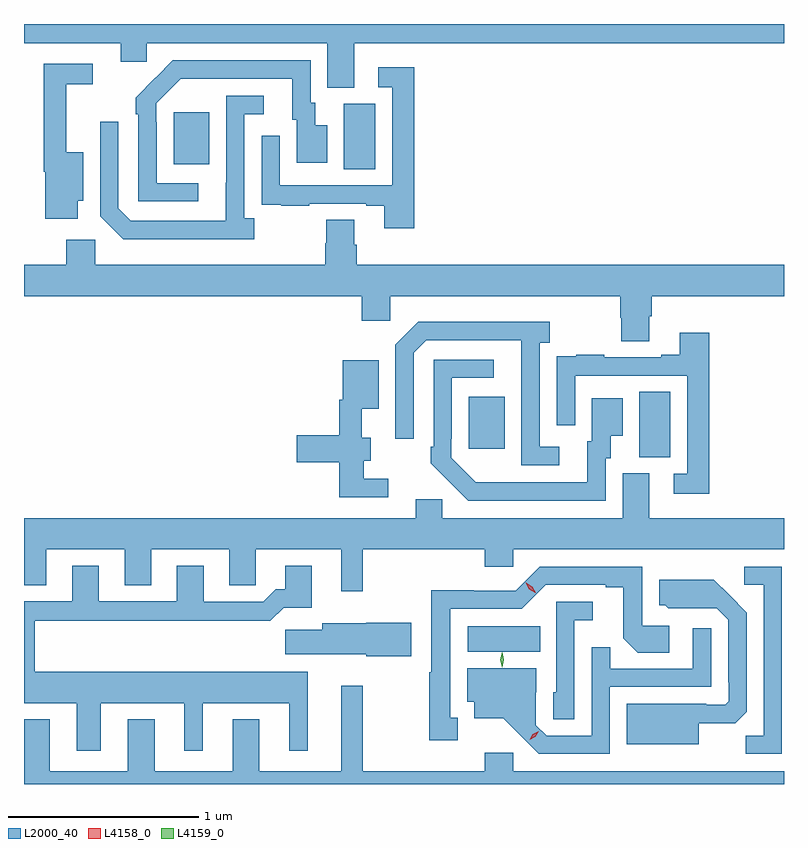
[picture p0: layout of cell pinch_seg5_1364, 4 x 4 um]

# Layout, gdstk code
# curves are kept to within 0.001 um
import gdstk
lib = gdstk.Library(unit=1e-6, precision=1e-09)
def R(c, l, rs):  # rectangles x0, y0, x1, y1
    for r in rs: c.add(gdstk.rectangle(r[:2], r[2:], *l))
def P(c, l, *ps):  # polygons
    for p in ps: c.add(gdstk.Polygon(p, *l))
L2000_40 = (2000, 40)
L4158_0 = (4158, 0)
L4159_0 = (4159, 0)

pinch_seg5_1364 = lib.new_cell('pinch_seg5_1364')
R(pinch_seg5_1364, L2000_40, [(144.258,904.172,144.638,904.306), (145.16,905.197,145.324,905.54), (144.263,905.241,144.451,905.515), (143.606,906.712,143.77,907.056), (142.709,906.737,142.897,907.012)])
P(pinch_seg5_1364, L2000_40, [(143.659,907.376),(145.922,907.376),(145.922,907.476),(141.922,907.476),(141.922,907.376),(142.43,907.376),(142.43,907.278),(142.569,907.278),(142.569,907.376),(143.519,907.376),(143.519,907.141),(143.659,907.141)],
  [(142.84,906.639),(142.62,906.639),(142.62,906.959),(142.617,906.959),(142.617,907.059),(142.746,907.188),(143.333,907.188),(143.333,906.972),(143.357,906.972),(143.357,906.747),(143.518,906.747),(143.518,906.943),(143.455,906.943),(143.455,907.062),(143.43,907.062),(143.43,907.284),(142.706,907.284),(142.509,907.089),(142.509,907.001),(142.524,907.001),(142.524,906.543),(142.84,906.543)],
  [(142.204,906.545),(142.234,906.545),(142.234,906.802),(142.145,906.802),(142.145,907.158),(142.285,907.158),(142.285,907.266),(142.027,907.266),(142.027,906.698),(142.034,906.698),(142.034,906.45),(142.204,906.45)],
  [(143.975,907.249),(143.787,907.249),(143.787,907.143),(143.859,907.143),(143.859,906.627),(143.268,906.627),(143.268,906.889),(143.172,906.889),(143.172,906.634),(143.173,906.634),(143.173,906.525),(143.275,906.525),(143.275,906.519),(143.423,906.519),(143.423,906.531),(143.723,906.531),(143.723,906.519),(143.819,906.519),(143.819,906.402),(143.975,906.402)],
  [(143.134,906.454),(143.082,906.454),(143.082,907.002),(143.185,907.002),(143.185,907.098),(142.986,907.098),(142.985,906.441),(142.485,906.441),(142.419,906.507),(142.419,906.961),(142.323,906.961),(142.323,906.465),(142.444,906.344),(143.134,906.344)],
  [(145.213,905.938),(145.226,905.938),(145.226,906.044),(145.922,906.044),(145.922,906.208),(143.672,906.208),(143.672,906.314),(143.659,906.314),(143.659,906.446),(143.512,906.446),(143.512,906.321),(143.507,906.321),(143.507,906.208),(142.296,906.208),(142.296,906.34),(142.145,906.34),(142.145,906.208),(141.922,906.208),(141.922,906.044),(143.699,906.044),(143.699,905.913),(143.85,905.913),(143.85,906.044),(145.061,906.044),(145.061,905.931),(145.066,905.931),(145.066,905.806),(145.213,905.806)],
  [(144.739,905.25),(144.636,905.25),(144.636,905.798),(144.688,905.798),(144.688,905.908),(143.998,905.908),(143.877,905.787),(143.877,905.292),(143.973,905.292),(143.973,905.745),(144.039,905.811),(144.539,905.811),(144.54,905.154),(144.739,905.154)],
  [(145.529,905.851),(145.373,905.851),(145.373,905.734),(145.277,905.734),(145.277,905.721),(144.977,905.721),(144.977,905.734),(144.829,905.734),(144.829,905.727),(144.727,905.727),(144.727,905.618),(144.726,905.618),(144.726,905.364),(144.822,905.364),(144.822,905.625),(145.413,905.625),(145.413,905.109),(145.341,905.109),(145.341,905.004),(145.529,905.004)],
  [(144.984,905.19),(145.009,905.19),(145.009,905.309),(145.072,905.309),(145.072,905.506),(144.911,905.506),(144.911,905.28),(144.887,905.28),(144.887,905.064),(144.3,905.065),(144.171,905.193),(144.171,905.293),(144.174,905.293),(144.174,905.613),(144.394,905.613),(144.394,905.709),(144.078,905.709),(144.078,905.251),(144.063,905.251),(144.063,905.163),(144.26,904.968),(144.984,904.968)],
  [(143.839,905.082),(143.71,905.082),(143.71,905.177),(143.746,905.177),(143.746,905.299),(143.699,905.299),(143.699,905.45),(143.788,905.45),(143.788,905.707),(143.6,905.707),(143.6,905.499),(143.581,905.499),(143.581,905.312),(143.358,905.312),(143.358,905.17),(143.581,905.17),(143.581,904.986),(143.839,904.986)],
  [(143.705,904.712),(144.347,904.712),(144.347,904.619),(144.498,904.619),(144.498,904.712),(145.922,904.712),(145.922,904.876),(145.213,904.876),(145.213,905.112),(145.073,905.112),(145.073,904.876),(144.123,904.876),(144.123,904.974),(143.984,904.974),(143.984,904.876),(141.922,904.876),(141.922,904.522),(142.039,904.522),(142.039,904.712),(142.451,904.712),(142.451,904.522),(142.591,904.522),(142.591,904.712),(143.003,904.712),(143.003,904.522),(143.142,904.522),(143.142,904.712),(143.591,904.712),(143.591,904.491),(143.705,904.491)],
  [(142.327,903.902),(142.766,903.902),(142.766,903.651),(142.864,903.651),(142.864,903.902),(143.318,903.902),(143.318,903.651),(143.416,903.651),(143.416,904.066),(141.979,904.066),(141.979,904.336),(142.963,904.336),(142.963,904.334),(143.219,904.334),(143.288,904.403),(143.437,904.403),(143.437,904.624),(143.297,904.624),(143.297,904.501),(143.248,904.501),(143.181,904.434),(142.867,904.434),(142.867,904.624),(142.727,904.624),(142.727,904.437),(142.315,904.437),(142.315,904.624),(142.175,904.624),(142.175,904.437),(141.922,904.437),(141.922,903.902),(142.199,903.902),(142.199,903.651),(142.327,903.651)],
  [(145.911,904.62),(145.713,904.62),(145.713,904.524),(145.815,904.524),(145.815,903.731),(145.72,903.731),(145.72,903.636),(145.911,903.636)],
  [(144.205,903.825),(144.166,903.825),(144.166,904.398),(144.543,904.398),(144.669,904.524),(144.983,904.524),(144.983,904.512),(145.077,904.512),(145.077,904.244),(145.153,904.168),(145.318,904.168),(145.318,904.308),(145.176,904.308),(145.176,904.62),(144.636,904.62),(144.51,904.494),(144.288,904.494),(144.288,904.496),(144.065,904.496),(144.065,904.064),(144.055,904.064),(144.055,903.705),(144.205,903.705)],
  [(145.474,903.797),(145.666,903.797),(145.725,903.856),(145.725,904.378),(145.553,904.552),(145.265,904.552),(145.265,904.416),(145.296,904.416),(145.312,904.4),(145.569,904.401),(145.629,904.341),(145.629,904.012),(145.632,904.012),(145.632,903.912),(145.614,903.894),(145.514,903.894),(145.514,903.898),(145.094,903.898),(145.094,903.686),(145.474,903.686)],
  [(144.819,904.337),(144.916,904.337),(144.916,904.434),(144.723,904.434),(144.723,903.96),(144.708,903.96),(144.708,903.817),(144.819,903.817)],
  [(143.959,904.326),(143.724,904.326),(143.724,904.321),(143.492,904.321),(143.492,904.289),(143.298,904.289),(143.298,904.16),(143.724,904.16),(143.724,904.148),(143.959,904.148)],
  [(145.005,903.987),(145.539,903.987),(145.539,904.297),(145.443,904.297),(145.443,904.083),(145.007,904.083),(145.007,904.196),(144.909,904.196),(144.909,903.729),(144.672,903.729),(144.615,903.786),(144.615,903.96),(144.619,903.96),(144.619,904.084),(144.254,904.084),(144.254,903.908),(144.293,903.908),(144.293,903.821),(144.445,903.821),(144.632,903.636),(145.005,903.636)],
  [(143.591,903.994),(143.591,903.544),(143.161,903.544),(143.161,903.817),(143.021,903.817),(143.021,903.544),(142.609,903.544),(142.609,903.817),(142.469,903.817),(142.469,903.544),(142.057,903.544),(142.057,903.817),(141.922,903.817),(141.922,903.476),(145.922,903.476),(145.922,903.544),(144.498,903.544),(144.498,903.64),(144.347,903.64),(144.347,903.544),(143.705,903.544),(143.705,903.994)])
P(pinch_seg5_1364, L4158_0, [(144.614,904.483),(144.582,904.502),(144.564,904.534),(144.564,904.534),(144.565,904.534),(144.597,904.515),(144.615,904.483),(144.615,904.483)],
  [(144.584,903.708),(144.584,903.708),(144.6,903.738),(144.63,903.754),(144.631,903.754),(144.631,903.753),(144.614,903.724),(144.584,903.708)])
P(pinch_seg5_1364, L4159_0, [(144.438,904.091),(144.438,904.091),(144.428,904.13),(144.438,904.169),(144.438,904.169),(144.438,904.169),(144.448,904.13),(144.438,904.091)])

lib.write_gds('pinch_seg5_1364.gds')
